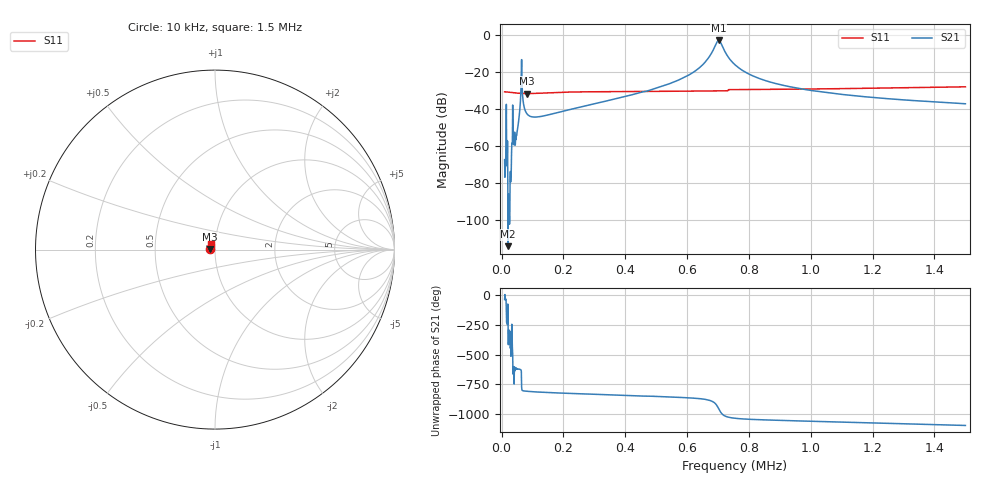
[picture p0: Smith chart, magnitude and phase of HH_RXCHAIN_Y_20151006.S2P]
!Agilent Technologies,E5061B,MY49203226,A.02.09
!Date: Wed Oct 07 10:27:53 2015
!Data & Calibration Information:
!Freq	S11:RESPS(ON)	S21:RESPT(ON)	S12:NONE(--)	S22:NONE(--)
# Hz S dB R 50
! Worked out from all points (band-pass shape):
!   1600 points, 10 kHz to 1.5 MHz, reference 50 ohm
!   highest |S21| = -2.92 dB at 702.4 kHz (marker M1); lowest = -113.9 dB at 21.18 kHz (marker M2)
!   |S21| within 3 dB of the highest: 690.6 kHz to 713.8 kHz (23.23 kHz wide, 3.31 % of centre)
!   lowest |S11| = -31.6 dB at 81.75 kHz (marker M3), VSWR 1.05, Z = 47.4 + j0.155 ohm
!   |S11| at or under -10 dB: start of sweep to end of sweep
!   S12 and S22 are empty: the file has one direction only
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10000  -30.62 178.7  -67.21 -39.4  -200.00 0.0  -200.00 0.0
21181.99  -30.78 177.0  -113.86 102.9  -200.00 0.0  -200.00 0.0
23977.49  -30.83 176.7  -93.27 -50.8  -200.00 0.0  -200.00 0.0
27704.82  -30.91 176.2  -78.47 54.6  -200.00 0.0  -200.00 0.0
39818.64  -31.14 175.5  -55.49 68.0  -200.00 0.0  -200.00 0.0
51000.62  -31.33 175.4  -51.61 97.4  -200.00 0.0  -200.00 0.0
64046.28  -31.48 175.8  -20.22 81.0  -200.00 0.0  -200.00 0.0
69637.27  -31.51 176.0  -35.30 -82.7  -200.00 0.0  -200.00 0.0
81751.09  -31.55 176.5  -42.36 -87.0  -200.00 0.0  -200.00 0.0
118092.6  -31.41 177.4  -44.12 -93.5  -200.00 0.0  -200.00 0.0
258799.2  -30.65 171.2  -38.69 -108.4  -200.00 0.0  -200.00 0.0
506666.7  -30.37 158.6  -28.33 -130.5  -200.00 0.0  -200.00 0.0
615691.1  -30.23 154.0  -20.55 -143.5  -200.00 0.0  -200.00 0.0
675328.3  -30.15 151.7  -10.80 -165.2  -200.00 0.0  -200.00 0.0
693965  -30.12 151.0  -4.68 162.8  -200.00 0.0  -200.00 0.0
702351.5  -30.11 150.7  -2.92 126.3  -200.00 0.0  -200.00 0.0
719124.5  -30.09 150.0  -7.82 71.1  -200.00 0.0  -200.00 0.0
755465.9  -29.43 149.2  -16.10 47.3  -200.00 0.0  -200.00 0.0
845853.7  -29.34 145.9  -24.16 34.3  -200.00 0.0  -200.00 0.0
1004265  -29.09 140.8  -29.95 22.1  -200.00 0.0  -200.00 0.0
1252133  -28.56 134.0  -34.37 4.8  -200.00 0.0  -200.00 0.0
1500000  -27.93 128.2  -37.06 -12.7  -200.00 0.0  -200.00 0.0
